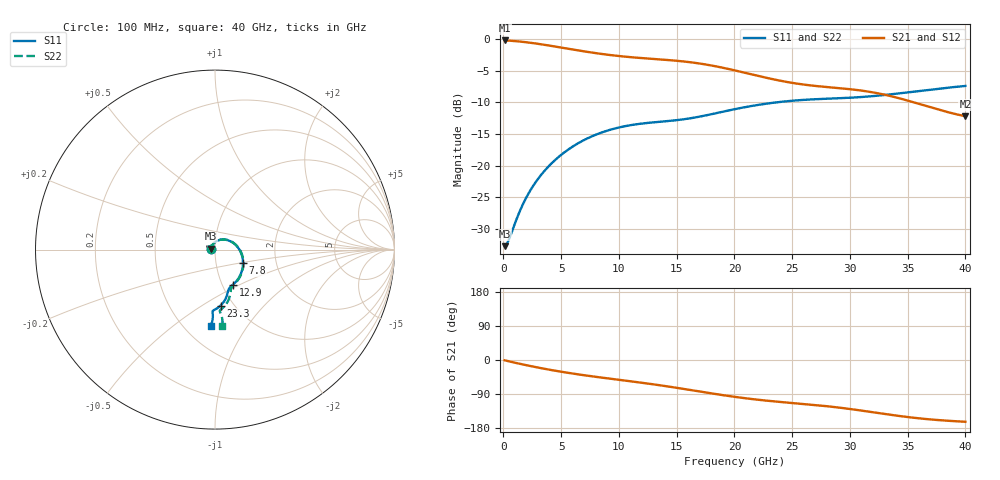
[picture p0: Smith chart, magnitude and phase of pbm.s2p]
! D_s8_stitch_5p0: physics-based via model (prototype), ports at the via
# Hz S RI R 50
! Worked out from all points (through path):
!   400 points, 100 MHz to 40 GHz, reference 50 ohm
!   highest |S21| = -0.21 dB at 100 MHz (marker M1); lowest = -12.2 dB at 40 GHz (marker M2)
!   group delay of S21, straight-line fit = 11.1 ps
!   lowest |S11| = -32.8 dB at 100 MHz (marker M3), VSWR 1.05, Z = 47.8 + j0.419 ohm
!   |S11| at or under -10 dB: start of sweep to 23.64 GHz
!   |S22| runs from -32.8 to -7.4 dB; largest |S21 - S12| = 0
!   S11 on the Smith chart (normalised r, x): 100 MHz: 0.96, +0.01; 7.8 GHz: 1.35, -0.20; 12.9 GHz: 1.12, -0.46; 23.3 GHz: 0.87, -0.60; 40 GHz: 0.66, -0.69
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1e8  -0.0226 0.00439  0.9764 -0.0131  0.9764 -0.0131  -0.0226 0.00438
4e8  -0.0194 0.0159  0.9726 -0.0507  0.9726 -0.0507  -0.0194 0.0158
1.3e9  -0.000169 0.0411  0.9474 -0.1543  0.9474 -0.1543  -0.000378 0.0411
1.8e9  0.0145 0.0499  0.9266 -0.2063  0.9266 -0.2063  0.0142 0.05
3e9  0.0556 0.0555  0.8629 -0.3141  0.8629 -0.3141  0.055 0.0562
3.8e9  0.0835 0.0477  0.8135 -0.3725  0.8135 -0.3725  0.0828 0.0489
4.7e9  0.1116 0.0294  0.7552 -0.4261  0.7552 -0.4261  0.111 0.0314
6.8e9  0.1514 -0.0377  0.6224 -0.511  0.6224 -0.511  0.1524 -0.0337
7.8e9  0.1561 -0.0734  0.5644 -0.5379  0.5644 -0.5379  0.1582 -0.0686
1.01e10  0.1397 -0.1447  0.4449 -0.5832  0.4449 -0.5832  0.1452 -0.139
1.29e10  0.1005 -0.1949  0.3077 -0.6269  0.3077 -0.6269  0.1101 -0.1896
1.34e10  0.0945 -0.2002  0.2817 -0.6333  0.2817 -0.6333  0.1048 -0.195
1.52e10  0.0795 -0.2156  0.1816 -0.6469  0.1816 -0.6469  0.092 -0.2105
1.67e10  0.0735 -0.2296  0.0936 -0.6404  0.0936 -0.6404  0.0881 -0.2243
1.82e10  0.0687 -0.2477  0.0105 -0.6142  0.0105 -0.6142  0.086 -0.2422
2.01e10  0.0588 -0.2739  -0.0743 -0.5593  -0.0743 -0.5593  0.0799 -0.2685
2.33e10  0.0308 -0.3119  -0.1556 -0.4569  -0.1556 -0.4569  0.0587 -0.308
2.67e10  -3.17e-06 -0.3338  -0.2017 -0.3792  -0.2017 -0.3792  0.0343 -0.3321
3.01e10  -0.0131 -0.3441  -0.256 -0.3087  -0.256 -0.3087  0.0268 -0.3435
3.34e10  -0.0121 -0.3647  -0.289 -0.2092  -0.289 -0.2092  0.0348 -0.3633
3.66e10  -0.0142 -0.3943  -0.2698 -0.1212  -0.2698 -0.1212  0.0413 -0.3925
4e10  -0.0246 -0.4257  -0.2349 -0.0715  -0.2349 -0.0715  0.041 -0.4245
